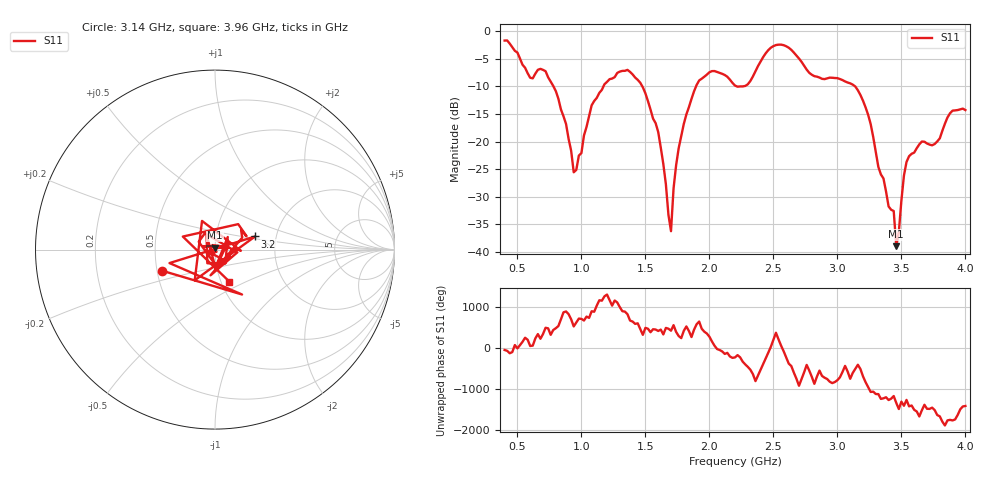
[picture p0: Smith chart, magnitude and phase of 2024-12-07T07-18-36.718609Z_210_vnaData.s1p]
!Created with skrf (http://scikit-rf.org).
# Hz S RI R 50.0
!freq ReS11 ImS11
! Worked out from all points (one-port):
!   181 points, 400 MHz to 4 GHz, reference 50 ohm
!   lowest |S11| = -38.9 dB at 3.46 GHz (marker M1), VSWR 1.02, Z = 50 + j1.13 ohm
!   |S11| at or under -10 dB: 782.1 MHz to 1.172 GHz (389.9 MHz wide, 39.9 % of centre); 1.477 GHz to 1.895 GHz (418.8 MHz wide, 24.8 % of centre); 3.14 GHz to end of sweep (the widest 3 of 4)
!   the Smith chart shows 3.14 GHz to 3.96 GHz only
!   S11 on the Smith chart (normalised r, x): 3.14 GHz: 0.53, -0.14; 3.2 GHz: 1.55, +0.24; 3.96 GHz: 1.10, -0.41
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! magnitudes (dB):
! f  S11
! 400 MHz  -1.7
! 600 MHz  -8.4
! 720 MHz  -7.2
! 860 MHz  -15.4
! 940 MHz  -25.5
! 1.08 GHz  -13.4
! 1.3 GHz  -7.3
! 1.46 GHz  -9.3
! 1.58 GHz  -16.6
! 1.64 GHz  -24.1
! 1.7 GHz  -36.2
! 1.72 GHz  -28.5
! 1.76 GHz  -21.2
! 1.92 GHz  -8.9
! 2.2 GHz  -9.8
! 2.5 GHz  -2.7
! 2.66 GHz  -3.9
! 2.82 GHz  -8.1
! 3.1 GHz  -9.4
! 3.14 GHz  -10.0
! 3.2 GHz  -12.6
! 3.4 GHz  -31.7
! 3.44 GHz  -32.6
! 3.46 GHz  -38.9
! 3.52 GHz  -26.1
! 3.56 GHz  -22.6
! 3.96 GHz  -14.1
! 4 GHz  -14.3
